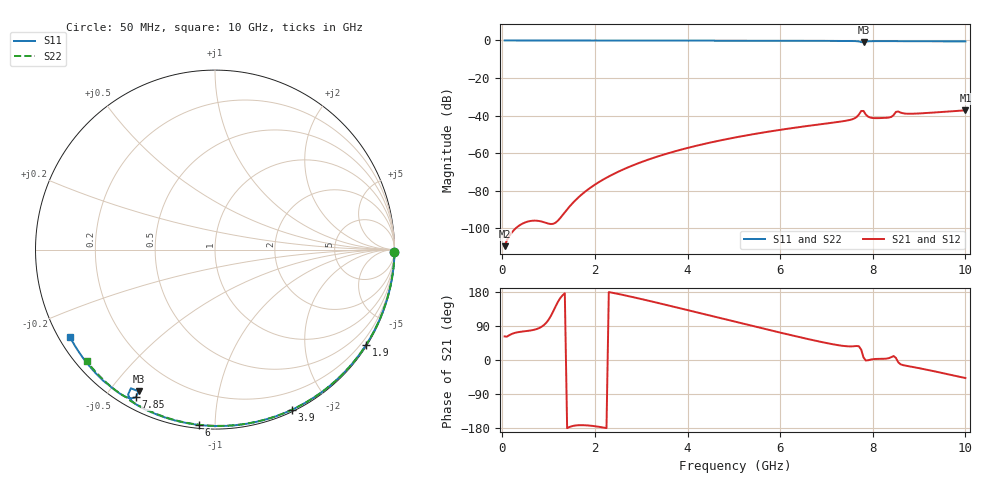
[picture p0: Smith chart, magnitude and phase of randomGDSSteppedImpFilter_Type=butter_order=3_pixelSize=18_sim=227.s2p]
! freq	dB(S11)	phase(S11)	dB(S12)	phase(S12)
!  dB(S21)	phase(S21)	dB(S22)	phase(S22)
!S-par simulation data
#  GHz  S  DB  R 50
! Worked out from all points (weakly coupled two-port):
!   200 points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, 50 MHz to 10 GHz, reference 50 ohm
!   highest |S21| = -37.21 dB at 10 GHz (marker M1); lowest = -109.5 dB at 50 MHz (marker M2)
!   lowest |S11| = -0.9 dB at 7.8 GHz (marker M3), VSWR 18.50, Z = 3.66 - j29.7 ohm
!   |S11| at or under -10 dB: nowhere
!   |S22| runs from -0.5 to 0.0 dB; largest |S21 - S12| = 0
!   S11 on the Smith chart (normalised r, x): 50 MHz: open; 1.9 GHz: 0.03, -3.46; 3.9 GHz: 0.02, -1.59; 6 GHz: 0.02, -0.91; 7.85 GHz: 0.05, -0.60; 10 GHz: 0.03, -0.28
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0.05  -0.00 -0.9  -109.53 62.2  -109.53 62.2  -0.00 -0.8
0.9  -0.02 -15.4  -96.77 92.3  -96.77 92.3  -0.02 -14.4
1.75  -0.04 -29.7  -81.28 -172.0  -81.28 -172.0  -0.04 -27.8
1.9  -0.04 -32.2  -78.45 -173.3  -78.45 -173.3  -0.04 -30.1
2.55  -0.06 -42.9  -69.36 173.2  -69.36 173.2  -0.05 -40.1
3.4  -0.08 -56.4  -61.42 149.4  -61.42 149.4  -0.07 -52.8
3.9  -0.09 -64.2  -57.87 134.7  -57.87 134.7  -0.08 -60.1
5.05  -0.13 -81.5  -51.55 100.3  -51.55 100.3  -0.12 -76.3
6  -0.17 -95.2  -47.60 72.3  -47.60 72.3  -0.16 -89.1
6.7  -0.21 -105.1  -45.17 52.6  -45.17 52.6  -0.19 -98.2
7.55  -0.30 -117.6  -42.02 35.9  -42.02 35.9  -0.24 -109.0
7.7  -0.52 -120.9  -39.48 36.3  -39.48 36.3  -0.25 -110.9
7.75  -0.88 -121.2  -37.54 27.3  -37.54 27.3  -0.26 -111.5
7.8  -0.94 -118.3  -37.54 6.7  -37.54 6.7  -0.26 -112.1
7.85  -0.60 -118.2  -39.45 -1.3  -39.45 -1.3  -0.26 -112.7
8  -0.36 -121.3  -41.30 2.1  -41.30 2.1  -0.27 -114.6
8.35  -0.35 -126.6  -41.04 5.0  -41.04 5.0  -0.30 -119.0
8.45  -0.37 -128.0  -39.73 10.5  -39.73 10.5  -0.33 -120.3
8.5  -0.37 -128.6  -38.03 5.4  -38.03 5.4  -0.36 -120.8
8.55  -0.36 -129.3  -37.85 -6.0  -37.85 -6.0  -0.36 -121.3
8.85  -0.38 -133.5  -39.02 -18.0  -39.02 -18.0  -0.35 -125.0
10  -0.51 -149.1  -37.21 -47.7  -37.21 -47.7  -0.47 -138.9
